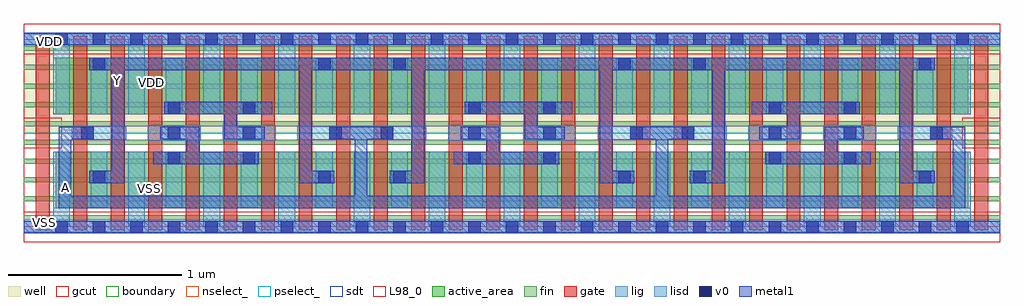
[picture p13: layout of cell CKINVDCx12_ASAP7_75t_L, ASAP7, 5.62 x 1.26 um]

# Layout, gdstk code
import gdstk
lib = gdstk.Library(unit=1e-6, precision=2.5e-10)
def R(c, l, rs):  # rectangles x0, y0, x1, y1
    for r in rs: c.add(gdstk.rectangle(r[:2], r[2:], *l))
def A(c, l, x, y, w, h, nx, ny, dx, dy):  # array of equal rectangles
    R(c, l, [(x+i*dx, y+j*dy, x+i*dx+w, y+j*dy+h) for i in range(nx) for j in range(ny)])
def P(c, l, *ps):  # polygons
    for p in ps: c.add(gdstk.Polygon(p, *l))
well = (1, 0)
fin = (2, 0)
gate = (7, 0)
gcut = (10, 0)
active_area = (11, 0)
nselect_ = (12, 0)
pselect_ = (13, 0)
lig = (16, 0)
lisd = (17, 0)
v0 = (18, 0)
metal1 = (19, 0)
sdt = (88, 0)
L98_0 = (98, 0)
boundary = (100, 0)

ckinvdcx12_asap7_75t_l = lib.new_cell('CKINVDCx12_ASAP7_75t_L')
R(ckinvdcx12_asap7_75t_l, well, [(0,0.54,5.616,1.08)])
A(ckinvdcx12_asap7_75t_l, fin, 0, 0.04, 5.616, 0.028, 1, 10, 0, 0.108)
A(ckinvdcx12_asap7_75t_l, gate, 0.068, -0.02, 0.08, 1.12, 26, 1, 0.216, 0)
R(ckinvdcx12_asap7_75t_l, gcut, [(0,-0.088,5.616,0.088), (0,0.452,0.216,0.628), (5.4,0.452,5.616,0.628), (0,0.992,5.616,1.168)])
R(ckinvdcx12_asap7_75t_l, active_area, [(0.184,0.108,5.432,0.432), (0.184,0.648,5.432,0.972)])
R(ckinvdcx12_asap7_75t_l, nselect_, [(0,0,5.616,0.54)])
R(ckinvdcx12_asap7_75t_l, pselect_, [(0,0.54,5.616,1.08)])
R(ckinvdcx12_asap7_75t_l, lig, [(0,-0.032,5.616,0.032), (0.712,0.496,1.016,0.584), (1.144,0.496,1.448,0.584), (2.44,0.496,2.744,0.584), (2.872,0.496,3.176,0.584), (4.168,0.496,4.472,0.584), (4.6,0.496,4.904,0.584), (0.276,0.5,0.588,0.58), (1.572,0.5,2.316,0.58), (3.3,0.5,4.044,0.58), (5.028,0.5,5.34,0.58), (0,1.048,5.616,1.112)])
A(ckinvdcx12_asap7_75t_l, lisd, 0.168, 0, 0.096, 0.432, 13, 2, 0.432, 0.648)
A(ckinvdcx12_asap7_75t_l, lisd, 0.384, 0.108, 0.096, 0.324, 12, 2, 0.432, 0.54)
A(ckinvdcx12_asap7_75t_l, v0, 0.18, -0.036, 0.072, 0.072, 25, 2, 0.216, 1.08)
A(ckinvdcx12_asap7_75t_l, v0, 0.828, 0.36, 0.072, 0.072, 1, 3, 0, 0.144)
A(ckinvdcx12_asap7_75t_l, v0, 1.26, 0.36, 0.072, 0.072, 1, 3, 0, 0.144)
A(ckinvdcx12_asap7_75t_l, v0, 2.556, 0.36, 0.072, 0.072, 1, 3, 0, 0.144)
A(ckinvdcx12_asap7_75t_l, v0, 2.988, 0.36, 0.072, 0.072, 1, 3, 0, 0.144)
A(ckinvdcx12_asap7_75t_l, v0, 4.284, 0.36, 0.072, 0.072, 1, 3, 0, 0.144)
A(ckinvdcx12_asap7_75t_l, v0, 4.716, 0.36, 0.072, 0.072, 1, 3, 0, 0.144)
R(ckinvdcx12_asap7_75t_l, v0, [(0.396,0.252,0.468,0.324), (1.692,0.252,1.764,0.324), (2.124,0.252,2.196,0.324), (3.42,0.252,3.492,0.324), (3.852,0.252,3.924,0.324), (5.148,0.252,5.22,0.324), (0.328,0.504,0.4,0.576), (1.756,0.504,1.828,0.576), (2.052,0.504,2.124,0.576), (3.488,0.504,3.56,0.576), (3.784,0.504,3.856,0.576), (5.216,0.504,5.288,0.576), (0.396,0.9,0.468,0.972), (1.692,0.9,1.764,0.972), (2.124,0.9,2.196,0.972), (3.42,0.9,3.492,0.972), (3.852,0.9,3.924,0.972), (5.148,0.9,5.22,0.972)])
R(ckinvdcx12_asap7_75t_l, metal1, [(0,-0.036,5.616,0.036), (0,1.044,5.616,1.116)])
P(ckinvdcx12_asap7_75t_l, metal1, [(5.416,0.576),(5.216,0.576),(5.216,0.504),(5.344,0.504),(5.344,0.18),(3.708,0.18),(3.708,0.504),(3.856,0.504),(3.856,0.576),(3.488,0.576),(3.488,0.504),(3.636,0.504),(3.636,0.18),(1.976,0.18),(1.976,0.504),(2.124,0.504),(2.124,0.576),(1.756,0.576),(1.756,0.504),(1.904,0.504),(1.904,0.18),(0.272,0.18),(0.272,0.504),(0.4,0.504),(0.4,0.576),(0.2,0.576),(0.2,0.108),(5.416,0.108)],
  [(5.24,0.324),(5.112,0.324),(5.112,0.9),(5.24,0.9),(5.24,0.972),(0.376,0.972),(0.376,0.9),(0.504,0.9),(0.504,0.324),(0.376,0.324),(0.376,0.252),(0.576,0.252),(0.576,0.9),(1.584,0.9),(1.584,0.252),(1.784,0.252),(1.784,0.324),(1.656,0.324),(1.656,0.9),(2.232,0.9),(2.232,0.324),(2.104,0.324),(2.104,0.252),(2.304,0.252),(2.304,0.9),(3.312,0.9),(3.312,0.252),(3.512,0.252),(3.512,0.324),(3.384,0.324),(3.384,0.9),(3.96,0.9),(3.96,0.324),(3.832,0.324),(3.832,0.252),(4.032,0.252),(4.032,0.9),(5.04,0.9),(5.04,0.252),(5.24,0.252)],
  [(1.352,0.432),(1.008,0.432),(1.008,0.576),(0.784,0.576),(0.784,0.504),(0.936,0.504),(0.936,0.432),(0.744,0.432),(0.744,0.36),(1.352,0.36)],
  [(3.08,0.432),(2.736,0.432),(2.736,0.576),(2.512,0.576),(2.512,0.504),(2.664,0.504),(2.664,0.432),(2.472,0.432),(2.472,0.36),(3.08,0.36)],
  [(4.872,0.432),(4.68,0.432),(4.68,0.504),(4.832,0.504),(4.832,0.576),(4.608,0.576),(4.608,0.432),(4.264,0.432),(4.264,0.36),(4.872,0.36)],
  [(4.808,0.72),(4.188,0.72),(4.188,0.648),(4.392,0.648),(4.392,0.576),(4.232,0.576),(4.232,0.504),(4.464,0.504),(4.464,0.648),(4.808,0.648)],
  [(1.428,0.72),(0.808,0.72),(0.808,0.648),(1.152,0.648),(1.152,0.504),(1.384,0.504),(1.384,0.576),(1.224,0.576),(1.224,0.648),(1.428,0.648)],
  [(3.156,0.72),(2.536,0.72),(2.536,0.648),(2.88,0.648),(2.88,0.504),(3.112,0.504),(3.112,0.576),(2.952,0.576),(2.952,0.648),(3.156,0.648)])
A(ckinvdcx12_asap7_75t_l, sdt, 0.168, 0.108, 0.096, 0.324, 25, 2, 0.216, 0.54)
R(ckinvdcx12_asap7_75t_l, L98_0, [(0,0,5.616,1.08)])
R(ckinvdcx12_asap7_75t_l, boundary, [(0,0,5.616,1.08)])
ckinvdcx12_asap7_75t_l.add(gdstk.Label('VDD', (0.736,0.828), layer=1, texttype=251))
ckinvdcx12_asap7_75t_l.add(gdstk.Label('VSS', (0.116,0.024), layer=19, texttype=251))
ckinvdcx12_asap7_75t_l.add(gdstk.Label('VDD', (0.144,1.066), layer=19, texttype=251))
ckinvdcx12_asap7_75t_l.add(gdstk.Label('Y', (0.54,0.84), layer=19, texttype=251))
ckinvdcx12_asap7_75t_l.add(gdstk.Label('A', (0.24,0.228), layer=19, texttype=251))
ckinvdcx12_asap7_75t_l.add(gdstk.Label('VSS', (0.724,0.22), layer=3, texttype=251))

lib.write_gds('CKINVDCx12_ASAP7_75t_L.gds')
